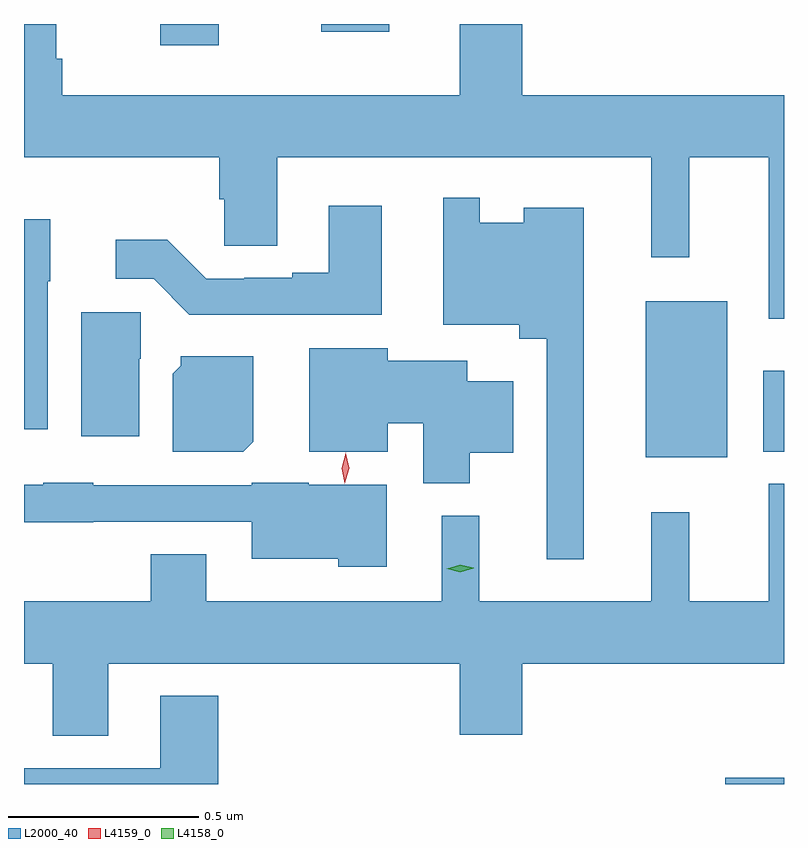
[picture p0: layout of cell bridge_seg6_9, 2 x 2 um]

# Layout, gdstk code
import gdstk
lib = gdstk.Library(unit=1e-6, precision=1e-09)
def R(c, l, rs):  # rectangles x0, y0, x1, y1
    for r in rs: c.add(gdstk.rectangle(r[:2], r[2:], *l))
def P(c, l, *ps):  # polygons
    for p in ps: c.add(gdstk.Polygon(p, *l))
L2000_40 = (2000, 40)
L4158_0 = (4158, 0)
L4159_0 = (4159, 0)

bridge_seg6_9 = lib.new_cell('bridge_seg6_9')
R(bridge_seg6_9, L2000_40, [(1004.867,947.019,1005.021,947.035), (1004.657,947.879,1004.872,948.289), (1004.966,947.894,1005.021,948.106), (1003.379,948.963,1003.534,949.019), (1003.803,948.998,1003.982,949.019)])
P(bridge_seg6_9, L2000_40, [(1005.021,948.832),(1004.332,948.832),(1004.332,949.019),(1004.168,949.019),(1004.168,948.832),(1003.121,948.832),(1003.121,948.928),(1003.106,948.928),(1003.106,949.019),(1003.021,949.019),(1003.021,948.668),(1003.535,948.668),(1003.535,948.558),(1003.548,948.558),(1003.548,948.436),(1003.687,948.436),(1003.687,948.668),(1004.672,948.668),(1004.672,948.405),(1004.771,948.405),(1004.771,948.668),(1004.981,948.668),(1004.981,948.243),(1005.021,948.243)],
  [(1004.494,948.535),(1004.336,948.535),(1004.336,948.496),(1004.22,948.496),(1004.22,948.562),(1004.124,948.562),(1004.124,948.227),(1004.324,948.227),(1004.324,948.191),(1004.397,948.191),(1004.397,947.61),(1004.494,947.61)],
  [(1003.963,948.541),(1003.823,948.541),(1003.823,948.364),(1003.727,948.364),(1003.727,948.351),(1003.6,948.351),(1003.6,948.348),(1003.5,948.348),(1003.398,948.451),(1003.263,948.451),(1003.263,948.348),(1003.362,948.348),(1003.456,948.254),(1003.963,948.254)],
  [(1003.084,948.342),(1003.09,948.342),(1003.09,948.505),(1003.021,948.505),(1003.021,947.952),(1003.084,947.952)],
  [(1003.324,948.138),(1003.328,948.138),(1003.328,948.261),(1003.172,948.261),(1003.172,947.934),(1003.324,947.934)],
  [(1004.194,947.891),(1004.308,947.891),(1004.308,948.079),(1004.188,948.079),(1004.188,948.133),(1003.978,948.133),(1003.978,948.166),(1003.772,948.166),(1003.772,947.894),(1003.978,947.894),(1003.978,947.969),(1004.072,947.969),(1004.072,947.81),(1004.194,947.81)],
  [(1003.624,947.92),(1003.624,948.145),(1003.434,948.145),(1003.434,948.12),(1003.412,948.098),(1003.412,947.894),(1003.598,947.894)],
  [(1003.975,947.806),(1003.77,947.806),(1003.77,947.812),(1003.62,947.812),(1003.62,947.805),(1003.203,947.805),(1003.203,947.812),(1003.071,947.812),(1003.071,947.806),(1003.021,947.806),(1003.021,947.708),(1003.203,947.708),(1003.203,947.709),(1003.62,947.709),(1003.62,947.612),(1003.848,947.612),(1003.848,947.591),(1003.975,947.591)],
  [(1003.243,947.336),(1004.168,947.336),(1004.168,947.148),(1004.332,947.148),(1004.332,947.336),(1005.021,947.336),(1005.021,947.809),(1004.981,947.809),(1004.981,947.5),(1004.771,947.5),(1004.771,947.734),(1004.672,947.734),(1004.672,947.5),(1004.219,947.5),(1004.219,947.725),(1004.12,947.725),(1004.12,947.5),(1003.501,947.5),(1003.501,947.624),(1003.354,947.624),(1003.354,947.5),(1003.021,947.5),(1003.021,947.336),(1003.096,947.336),(1003.096,947.146),(1003.243,947.146)],
  [(1003.532,947.251),(1003.379,947.251),(1003.379,947.061),(1003.021,947.061),(1003.021,947.019),(1003.532,947.019)])
P(bridge_seg6_9, L4158_0, [(1004.169,947.576),(1004.133,947.585),(1004.133,947.585),(1004.133,947.586),(1004.169,947.596),(1004.205,947.588),(1004.205,947.587),(1004.205,947.587)])
P(bridge_seg6_9, L4159_0, [(1003.865,947.809),(1003.865,947.81),(1003.857,947.85),(1003.868,947.89),(1003.868,947.891),(1003.868,947.89),(1003.877,947.85),(1003.865,947.81)])

lib.write_gds('bridge_seg6_9.gds')
